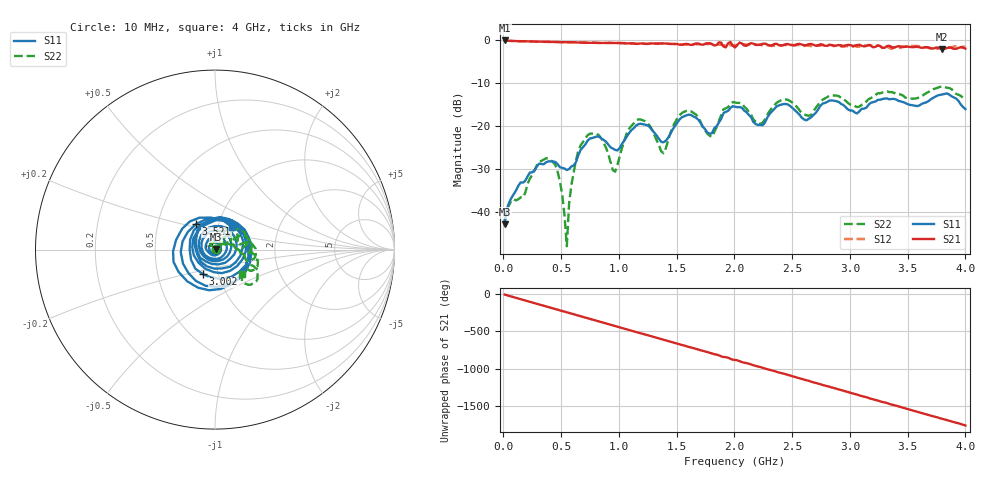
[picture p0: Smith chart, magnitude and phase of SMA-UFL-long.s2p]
! 9/28/2016 11:54:27 AM
! C:\USERS\ANRITSUUSER\DESKTOP\SWITCHES\SMA-UFL-LONG.S2P
! CHANNEL.1
! TR.MEASUREMENT
! CORRECTED.DATA
# GHZ S RI R 50.0
! FREQ.GHZ  S11RE  S11IM  S21RE  S21IM  S12RE  S12IM  S22RE  S22IM
!; PortSelection: Port_12
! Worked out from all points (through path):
!   201 points, 10 MHz to 4 GHz, reference 50 ohm
!   highest |S21| = -0.04 dB at 10 MHz (marker M1); lowest = -2.0 dB at 3.8 GHz (marker M2)
!   group delay of S21, straight-line fit = 1.22 ns
!   lowest |S11| = -42.8 dB at 10 MHz (marker M3), VSWR 1.01, Z = 50.6 + j0.359 ohm
!   |S11| at or under -10 dB: start of sweep to end of sweep
!   |S22| runs from -47.9 to -10.8 dB; largest |S21 - S12| = 0.089
!   S11 on the Smith chart (normalised r, x): 10 MHz: 1.01, +0.01; 3.002 GHz: 0.84, -0.24; 3.521 GHz: 0.78, +0.23; 4 GHz: 1.17, +0.30
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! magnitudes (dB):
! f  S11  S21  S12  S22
! 10 MHz  -42.8  0.0  0.0  -42.1
! 129.7 MHz  -33.8  -0.2  -0.2  -36.9
! 389.1 MHz  -28.1  -0.4  -0.4  -27.5
! 488.8 MHz  -29.5  -0.4  -0.4  -32.8
! 548.6 MHz  -30.2  -0.4  -0.4  -47.9
! 588.5 MHz  -29.3  -0.4  -0.5  -33.6
! 688.3 MHz  -24.9  -0.5  -0.5  -23.6
! 828 MHz  -22.4  -0.6  -0.6  -22.1
! 967.6 MHz  -25.5  -0.6  -0.6  -30.5
! 1.167 GHz  -19.5  -0.8  -0.9  -18.4
! 1.347 GHz  -22.9  -0.8  -0.7  -24.4
! 1.586 GHz  -17.4  -0.8  -1.0  -16.4
! 1.806 GHz  -21.6  -0.9  -0.8  -22.4
! 2.005 GHz  -15.4  -1.7  -1.1  -14.5
! 2.204 GHz  -19.7  -1.1  -1.0  -19.4
! 2.424 GHz  -14.8  -1.1  -1.1  -13.8
! 2.683 GHz  -17.4  -1.0  -1.3  -16.5
! 3.002 GHz  -16.3  -1.1  -1.6  -14.9
! 3.342 GHz  -13.7  -1.3  -1.8  -12.1
! 3.521 GHz  -15.0  -1.6  -1.3  -13.5
! 3.8 GHz  -12.6  -2.0  -1.8  -10.8
! 4 GHz  -16.0  -1.9  -1.5  -13.8
